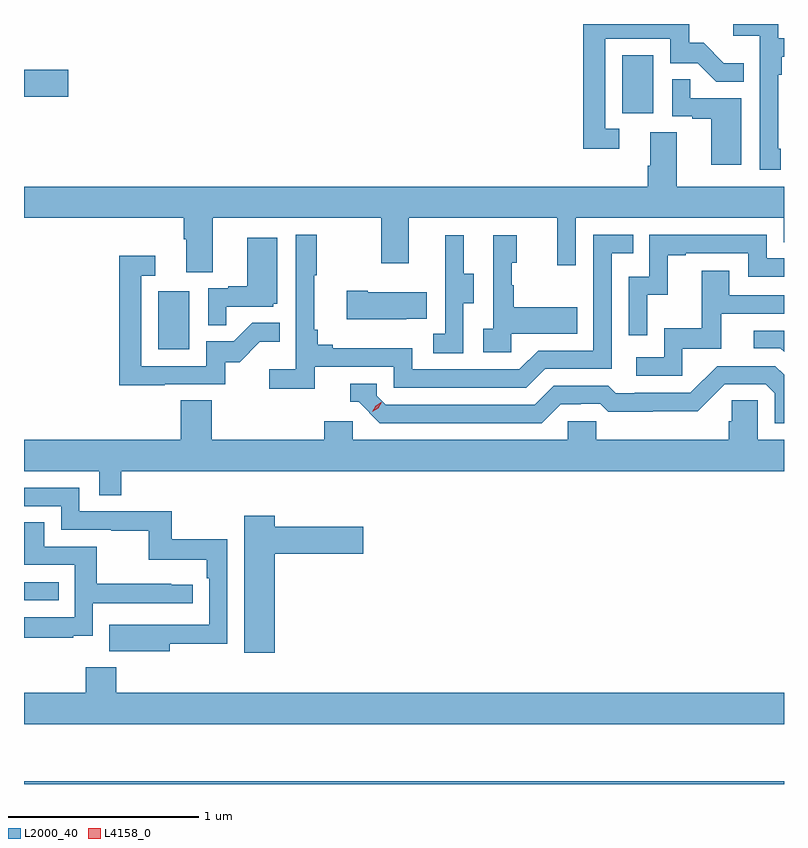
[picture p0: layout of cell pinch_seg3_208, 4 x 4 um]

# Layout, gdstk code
import gdstk
lib = gdstk.Library(unit=1e-6, precision=1e-09)
def R(c, l, rs):  # rectangles x0, y0, x1, y1
    for r in rs: c.add(gdstk.rectangle(r[:2], r[2:], *l))
def P(c, l, *ps):  # polygons
    for p in ps: c.add(gdstk.Polygon(p, *l))
L2000_40 = (2000, 40)
L4158_0 = (4158, 0)

pinch_seg3_208 = lib.new_cell('pinch_seg3_208')
R(pinch_seg3_208, L2000_40, [(981.129,744.557,985.129,744.571), (981.129,745.524,981.311,745.62), (981.836,746.844,982,747.151), (984.278,748.086,984.442,748.393), (981.129,748.174,981.361,748.316)])
P(pinch_seg3_208, L2000_40, [(984.262,748.005),(984.189,748.005),(984.189,748.479),(984.531,748.479),(984.531,748.35),(984.675,748.35),(984.773,748.252),(984.917,748.252),(984.917,748.351),(984.813,748.351),(984.706,748.458),(984.63,748.458),(984.63,748.557),(984.073,748.557),(984.073,747.9),(984.262,747.9)],
  [(985.111,747.901),(985.098,747.901),(985.098,748.289),(985.118,748.289),(985.118,748.385),(985.129,748.385),(985.129,748.482),(985.1,748.482),(985.1,748.557),(984.861,748.557),(984.861,748.496),(985.002,748.496),(985.002,747.789),(985.111,747.789)],
  [(984.904,748.167),(984.635,748.167),(984.635,748.265),(984.54,748.265),(984.54,748.071),(984.647,748.071),(984.647,748.059),(984.746,748.059),(984.746,747.816),(984.904,747.816)],
  [(985.128,747.409),(985.129,747.409),(985.129,747.7),(984.565,747.7),(984.565,747.986),(984.425,747.986),(984.425,747.812),(984.413,747.812),(984.413,747.7),(981.129,747.7),(981.129,747.536),(981.971,747.536),(981.971,747.424),(981.983,747.424),(981.983,747.25),(982.123,747.25),(982.123,747.536),(983.008,747.536),(983.008,747.297),(983.155,747.297),(983.155,747.536),(983.936,747.536),(983.936,747.288),(984.033,747.288),(984.033,747.536),(985.128,747.536)],
  [(982.658,746.754),(983.076,746.754),(983.076,746.643),(983.773,746.643),(983.872,746.742),(984.222,746.742),(984.222,747.351),(984.335,747.351),(984.335,747.447),(984.126,747.447),(984.126,746.838),(983.835,746.838),(983.736,746.739),(983.172,746.739),(983.172,746.851),(982.753,746.851),(982.753,746.87),(982.676,746.87),(982.676,746.947),(982.657,746.947),(982.657,747.235),(982.669,747.235),(982.669,747.448),(982.56,747.448),(982.56,746.74),(982.419,746.74),(982.419,746.638),(982.658,746.638)],
  [(984.408,747.131),(984.518,747.131),(984.518,747.339),(984.613,747.339),(984.613,747.351),(984.942,747.351),(984.942,747.228),(985.129,747.228),(985.129,747.324),(985.038,747.324),(985.038,747.447),(984.42,747.447),(984.42,747.228),(984.312,747.228),(984.312,746.919),(984.408,746.919)],
  [(983.442,747.088),(983.497,747.088),(983.497,747.243),(983.443,747.243),(983.443,747.445),(983.345,747.445),(983.345,747.231),(983.346,747.231),(983.346,746.927),(983.283,746.927),(983.283,746.824),(983.442,746.824)],
  [(983.694,746.927),(984.041,746.927),(984.041,747.067),(983.707,747.067),(983.707,747.182),(983.697,747.182),(983.697,747.3),(983.722,747.3),(983.722,747.445),(983.598,747.445),(983.598,746.954),(983.547,746.954),(983.547,746.829),(983.694,746.829)],
  [(982.193,747.069),(982.44,747.069),(982.44,747.084),(982.462,747.084),(982.462,747.433),(982.304,747.433),(982.304,747.178),(982.205,747.178),(982.205,747.165),(982.098,747.165),(982.098,746.971),(982.193,746.971)],
  [(981.869,746.661),(982.188,746.661),(982.188,746.778),(982.264,746.778),(982.371,746.885),(982.475,746.885),(982.475,746.984),(982.331,746.984),(982.233,746.886),(982.089,746.886),(982.089,746.757),(981.747,746.757),(981.747,747.231),(981.82,747.231),(981.82,747.337),(981.631,747.337),(981.631,746.656),(981.869,746.656)],
  [(984.594,746.847),(984.799,746.847),(984.799,747.033),(985.129,747.033),(985.129,747.129),(984.841,747.129),(984.841,747.259),(984.697,747.259),(984.697,746.956),(984.498,746.956),(984.498,746.802),(984.351,746.802),(984.351,746.706),(984.594,746.706)],
  [(983.141,747.005),(983.249,747.005),(983.249,747.145),(982.939,747.145),(982.939,747.153),(982.827,747.153),(982.827,747.002),(983.141,747.002)],
  [(985.129,746.943),(984.969,746.943),(984.969,746.85),(985.11,746.85),(985.129,746.831)],
  [(983.953,746.556),(984.06,746.556),(984.06,746.559),(984.163,746.559),(984.205,746.517),(984.438,746.517),(984.438,746.519),(984.674,746.519),(984.816,746.661),(985.032,746.661),(985.08,746.613),(985.08,746.457),(985.129,746.457),(985.129,746.711),(985.083,746.757),(984.777,746.757),(984.636,746.616),(984.343,746.616),(984.343,746.613),(984.244,746.613),(984.205,746.652),(983.916,746.652),(983.817,746.553),(983.034,746.553),(982.986,746.601),(982.986,746.664),(982.847,746.664),(982.847,746.568),(982.89,746.568),(983.001,746.457),(983.854,746.457)],
  [(981.641,746.204),(985.129,746.204),(985.129,746.368),(984.99,746.368),(984.99,746.576),(984.853,746.576),(984.853,746.466),(984.839,746.466),(984.839,746.368),(984.141,746.368),(984.141,746.466),(983.991,746.466),(983.991,746.368),(982.86,746.368),(982.86,746.466),(982.709,746.466),(982.709,746.368),(982.118,746.368),(982.118,746.576),(981.953,746.576),(981.953,746.368),(981.129,746.368),(981.129,746.204),(981.525,746.204),(981.525,746.077),(981.641,746.077)],
  [(981.895,745.294),(982.2,745.294),(982.2,745.846),(981.907,745.846),(981.907,745.992),(981.42,745.992),(981.42,746.115),(981.129,746.115),(981.129,746.019),(981.324,746.019),(981.324,745.896),(981.589,745.896),(981.589,745.891),(981.786,745.891),(981.786,745.736),(982.091,745.736),(982.091,745.64),(982.104,745.64),(982.104,745.395),(981.791,745.395),(981.791,745.396),(981.577,745.396),(981.577,745.256),(981.895,745.256)],
  [(982.45,745.769),(982.915,745.769),(982.915,745.911),(982.45,745.911),(982.45,745.969),(982.289,745.969),(982.289,745.248),(982.45,745.248)],
  [(981.389,745.337),(981.492,745.337),(981.492,745.509),(982.018,745.509),(982.018,745.605),(981.905,745.605),(981.905,745.61),(981.512,745.61),(981.512,745.806),(981.235,745.806),(981.235,745.934),(981.129,745.934),(981.129,745.71),(981.396,745.71),(981.396,745.434),(981.129,745.434),(981.129,745.326),(981.389,745.326)],
  [(985.129,745.036),(981.614,745.036),(981.614,745.171),(981.454,745.171),(981.454,745.036),(981.129,745.036),(981.129,744.872),(985.129,744.872)])
P(pinch_seg3_208, L4158_0, [(982.963,746.515),(982.963,746.515),(982.98,746.547),(983.01,746.566),(983.011,746.566),(983.011,746.566),(982.994,746.534),(982.963,746.515)])

lib.write_gds('pinch_seg3_208.gds')
